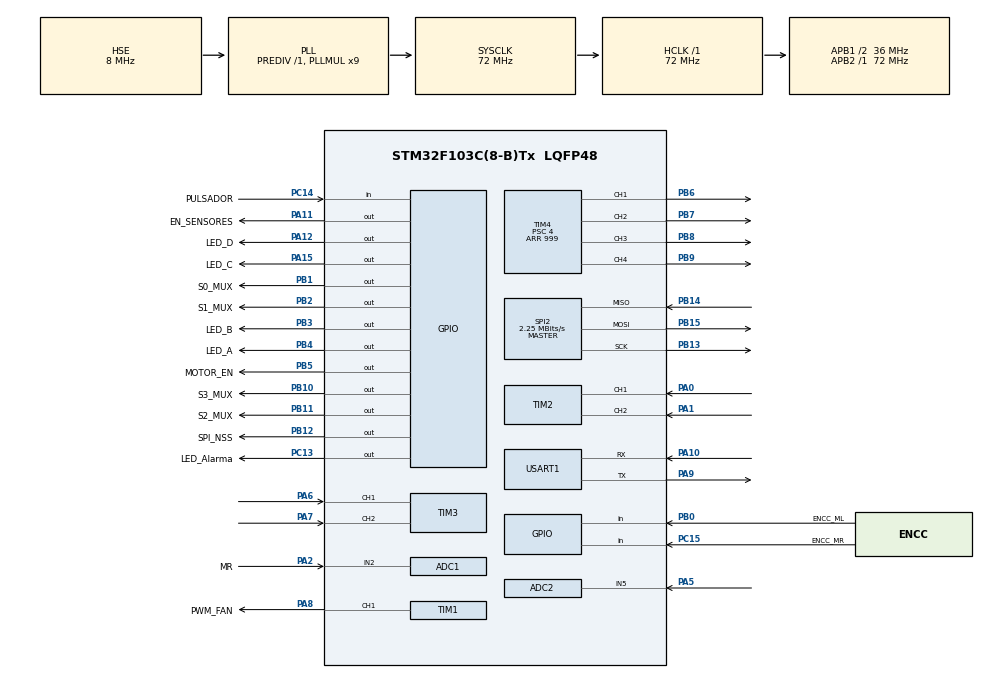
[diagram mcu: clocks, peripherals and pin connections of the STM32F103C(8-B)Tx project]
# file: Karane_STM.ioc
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ADC1.Channel-4\#ChannelRegularConversion=ADC_CHANNEL_2
ADC1.ContinuousConvMode=DISABLE
ADC1.NbrOfConversion=1
ADC1.NbrOfConversionFlag=1
ADC1.Rank-4\#ChannelRegularConversion=1
ADC1.SamplingTime-4\#ChannelRegularConversion=ADC_SAMPLETIME_13CYCLES_5
ADC1.master=1
ADC2.Channel-0\#ChannelRegularConversion=ADC_CHANNEL_5
ADC2.ContinuousConvMode=DISABLE
ADC2.NbrOfConversion=1
ADC2.NbrOfConversionFlag=1
ADC2.Rank-0\#ChannelRegularConversion=1
ADC2.SamplingTime-0\#ChannelRegularConversion=ADC_SAMPLETIME_13CYCLES_5
Mcu.Family=STM32F1
Mcu.Name=STM32F103C(8-B)Tx
Mcu.Package=LQFP48
NVIC.PriorityGroup=NVIC_PRIORITYGROUP_4
PA0-WKUP.Signal=S_TIM2_CH1_ETR
PA1.Signal=S_TIM2_CH2
PA10.Mode=Asynchronous
PA10.Signal=USART1_RX
PA11.GPIO_Label=EN_SENSORES
PA11.Signal=GPIO_Output
PA12.GPIO_Label=LED_D
PA12.Signal=GPIO_Output
PA13.Mode=Serial_Wire
PA13.Signal=SYS_JTMS-SWDIO
PA14.Mode=Serial_Wire
PA14.Signal=SYS_JTCK-SWCLK
PA15.GPIO_Label=LED_C
PA15.Signal=GPIO_Output
PA2.GPIO_Label=MR
PA2.Signal=ADCx_IN2
PA5.Signal=ADCx_IN5
PA6.Signal=S_TIM3_CH1
PA7.Signal=S_TIM3_CH2
PA8.GPIO_Label=PWM_FAN
PA8.Signal=S_TIM1_CH1
PA9.Mode=Asynchronous
PA9.Signal=USART1_TX
PB0.GPIO_Label=ENCC_ML
PB0.Signal=GPIO_Input
PB1.GPIO_Label=S0_MUX
PB1.Signal=GPIO_Output
PB10.GPIO_Label=S3_MUX
PB10.Signal=GPIO_Output
PB11.GPIO_Label=S2_MUX
PB11.Signal=GPIO_Output
PB12.GPIO_Label=SPI_NSS
PB12.Signal=GPIO_Output
PB13.Mode=Full_Duplex_Master
PB13.Signal=SPI2_SCK
PB14.Mode=Full_Duplex_Master
PB14.Signal=SPI2_MISO
PB15.Mode=Full_Duplex_Master
PB15.Signal=SPI2_MOSI
PB2.GPIO_Label=S1_MUX
PB2.Signal=GPIO_Output
PB3.GPIO_Label=LED_B
PB3.Signal=GPIO_Output
PB4.GPIO_Label=LED_A
PB4.Signal=GPIO_Output
PB5.GPIO_Label=MOTOR_EN
PB5.Signal=GPIO_Output
PB6.Signal=S_TIM4_CH1
PB7.Signal=S_TIM4_CH2
PB8.Signal=S_TIM4_CH3
PB9.Signal=S_TIM4_CH4
PC13-TAMPER-RTC.GPIO_Label=LED_Alarma
PC13-TAMPER-RTC.Signal=GPIO_Output
PC14-OSC32_IN.GPIO_Label=PULSADOR
PC14-OSC32_IN.Signal=GPIO_Input
PC15-OSC32_OUT.GPIO_Label=ENCC_MR
PC15-OSC32_OUT.Signal=GPIO_Input
PD0-OSC_IN.Mode=HSE-External-Oscillator
PD0-OSC_IN.Signal=RCC_OSC_IN
PD1-OSC_OUT.Mode=HSE-External-Oscillator
PD1-OSC_OUT.Signal=RCC_OSC_OUT
ProjectManager.HeapSize=0x200
ProjectManager.StackSize=0x400
ProjectManager.TargetToolchain=STM32CubeIDE
RCC.ADCPresc=RCC_ADCPCLK2_DIV6
RCC.AHBFreq_Value=72000000
RCC.APB1CLKDivider=RCC_HCLK_DIV2
RCC.APB1Freq_Value=36000000
RCC.APB1TimFreq_Value=72000000
RCC.APB2Freq_Value=72000000
RCC.APB2TimFreq_Value=72000000
RCC.HCLKFreq_Value=72000000
RCC.PLLMUL=RCC_PLL_MUL9
RCC.PLLSourceVirtual=RCC_PLLSOURCE_HSE
RCC.SYSCLKFreq_VALUE=72000000
RCC.SYSCLKSource=RCC_SYSCLKSOURCE_PLLCLK
RCC.USBFreq_Value=72000000
SH.ADCx_IN2.0=ADC1_IN2,IN2
SH.ADCx_IN5.0=ADC2_IN5,IN5
SH.S_TIM1_CH1.0=TIM1_CH1,PWM Generation1 CH1
SH.S_TIM2_CH1_ETR.0=TIM2_CH1,Encoder_Interface
SH.S_TIM2_CH2.0=TIM2_CH2,Encoder_Interface
SH.S_TIM3_CH1.0=TIM3_CH1,Encoder_Interface
SH.S_TIM3_CH2.0=TIM3_CH2,Encoder_Interface
SH.S_TIM4_CH1.0=TIM4_CH1,PWM Generation1 CH1
SH.S_TIM4_CH2.0=TIM4_CH2,PWM Generation2 CH2
SH.S_TIM4_CH3.0=TIM4_CH3,PWM Generation3 CH3
SH.S_TIM4_CH4.0=TIM4_CH4,PWM Generation4 CH4
SPI2.BaudRatePrescaler=SPI_BAUDRATEPRESCALER_16
SPI2.CalculateBaudRate=2.25 MBits/s
SPI2.Direction=SPI_DIRECTION_2LINES
SPI2.Mode=SPI_MODE_MASTER
SPI2.VirtualType=VM_MASTER
TIM1.Channel-PWM\ Generation1\ CH1=TIM_CHANNEL_1
TIM1.Period=19999
TIM1.Prescaler=71
TIM3.IC1Polarity=TIM_ICPOLARITY_FALLING
TIM4.Channel-PWM\ Generation1\ CH1=TIM_CHANNEL_1
TIM4.Channel-PWM\ Generation2\ CH2=TIM_CHANNEL_2
TIM4.Channel-PWM\ Generation3\ CH3=TIM_CHANNEL_3
TIM4.Channel-PWM\ Generation4\ CH4=TIM_CHANNEL_4
TIM4.Period=999
TIM4.Prescaler=4
USART1.VirtualMode=VM_ASYNC
VP_TIM1_VS_ClockSourceINT.Mode=Internal
board=custom

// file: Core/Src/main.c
/* USER CODE BEGIN Header */
/**
  ******************************************************************************
  * @file           : main.c
  * @brief          : Main program body
  ******************************************************************************
  * @attention
  *
  * Copyright (c) 2026 STMicroelectronics.
  * All rights reserved.
  *
  * This software is licensed under terms that can be found in the LICENSE file
  * in the root directory of this software component.
  * If no LICENSE file comes with this software, it is provided AS-IS.
  *
  ******************************************************************************
  */
/* USER CODE END Header */
#include "main.h"
#include "adc.h"
#include "spi.h"
#include "tim.h"
#include "usart.h"
#include "gpio.h"

/* USER CODE BEGIN Includes */
#include "stdio.h"
#include "string.h"
#include "LIB_MPU6500_SPI.h"
#include "MOTORES_LIB.h"
/* USER CODE END Includes */

/* USER CODE BEGIN PTD */
typedef struct
{
	float	kp;
	float	ki;
	float	kd;
	float	ultimoError;
	float	integral;
	float	winup;
	float	PWM_Maximo;

}PID;

MPU6500_Init_Values_t 	MPU6500_Datos; //Iniciamos donde se guardaran todos los datos a leer
MPU6500_status_e	MPU6500_Status;
MPU6500_Init_float_t	MPU6500_Conv;

PID	PID_ML=		{0.05,0,0	,0,0,200,400};
PID	PID_MR=		{0.05,0,0	,0,0,200,400};
PID PID_Linea=	{1.5,0,0	,0,0,200,400};
Motores_Init Motor;
/* USER CODE END PTD */

/* USER CODE BEGIN PD */
#define NumSensores 16

/* USER CODE END PD */

/* USER CODE BEGIN PV */
char bufferTxt[30];
static uint8_t PosicionesSensores[16]={15,14,13,12,11,10,9,8,7,6,5,4,3,2,1,0};
uint8_t 	MuxSel=0;
int16_t 	RegletaSensores[16]={0};
int16_t	RegletaMax[16];
int16_t	RegletaMin[16];

int16_t UltimaPosicion	=500;				// var donde se almacenara la posicion en la linea
unsigned long sumaPonderada = 0;
unsigned long sumaLecturas = 0;
long valor=0;
unsigned long peso=0;
bool	flagRegleta=false;

uint32_t valoresADC[3];

/* USER CODE END PV */

void SystemClock_Config(void);
/* USER CODE BEGIN PFP */
void Leer_sensores(bool enSensores);
void Inicializar_Sistema();
uint32_t ADC_leer_Canal(uint32_t canal);
float funcion_calcularPID(PID* pid,int16_t setpoint,int16_t actual,float dt);
/* USER CODE END PFP */

int main(void)
{

  /* MCU Configuration--------------------------------------------------------*/

  /* Reset of all peripherals, Initializes the Flash interface and the Systick. */
  HAL_Init();

  /* Configure the system clock */
  SystemClock_Config();

  /* Initialize all configured peripherals */
  MX_GPIO_Init();
  MX_SPI2_Init();
  MX_USART1_UART_Init();
  MX_TIM4_Init();
  MX_TIM2_Init();
  MX_TIM3_Init();
  MX_ADC1_Init();
  MX_ADC2_Init();
  MX_TIM1_Init();
  /* USER CODE BEGIN 2 */

  Inicializar_Sistema();
  bool IniciarPID=false;
  uint32_t Tiempo_Anterior_PID=0;
  uint32_t Tiempo_Anterior_ADC=0;

  /* USER CODE END 2 */

  /* Infinite loop */
  /* USER CODE BEGIN WHILE */
  while (1)
  {
	  if(0)
	  {
		  //IniciarPID=true;

		  HAL_GPIO_WritePin(LED_A_GPIO_Port, LED_A_Pin, 1);
		/*  HAL_Delay(1000);
		  for (int var = 1000; var < 1400; var+=20) {
		  		PWM_Brushless(var);
		  		HAL_Delay(300);
		  	}*/
		  for (int var = 0; var < 900; var+=5) {

			  Motor.ENABLE=true;

			  valoresADC[0]=ADC_leer_Canal(2);
			  valoresADC[1]=ADC_leer_Canal(3);
			  valoresADC[2]=ADC_leer_Canal(4);
			  float voltajeADC = (valoresADC[2] * 3.5f) / 4095.0f;

			  float voltaje = voltajeADC*3.1526;
/* valores iniciales
			  int16_t	ML=(int16_t)574/voltaje;//950 por 0.150v *1000 arr para pwm necesario hacerlo para cada uno
			  MR=(int16_t)654/voltaje;*/
			  // ML 1000 y MR 900a 950
			  Motor.PWM_ML=var;

			  Motor.PWM_MR=var;

				  PWM_Motores(&Motor);
		  sprintf(bufferTxt," Adc= %ld ",valoresADC[2]);
		  HAL_UART_Transmit(&huart1, (uint8_t *)bufferTxt, strlen(bufferTxt), HAL_MAX_DELAY);
		  sprintf(bufferTxt," volt= %0.4f ",voltaje);
		  HAL_UART_Transmit(&huart1, (uint8_t *)bufferTxt, strlen(bufferTxt), HAL_MAX_DELAY);
		  sprintf(bufferTxt," volt= %d ",var);
		  HAL_UART_Transmit(&huart1, (uint8_t *)bufferTxt, strlen(bufferTxt), HAL_MAX_DELAY);

		  sprintf(bufferTxt,"\r\n ");
		  HAL_UART_Transmit(&huart1, (uint8_t *)bufferTxt, strlen(bufferTxt), HAL_MAX_DELAY);
		  HAL_Delay(50);
		  }
		  HAL_GPIO_WritePin(LED_A_GPIO_Port, LED_A_Pin, 0);
		  Motor.PWM_ML=0;
		  Motor.PWM_MR=0;

		  PWM_Motores(&Motor);
	  }
	  //int32_t encoder_valueA = __HAL_TIM_GET_COUNTER(&htim2);
	  //int32_t encoder_valueB = __HAL_TIM_GET_COUNTER(&htim3);
	  if(HAL_GetTick()-Tiempo_Anterior_ADC>200)
	  {
		  valoresADC[0]=ADC_leer_Canal(2);
		  valoresADC[1]=ADC_leer_Canal(3);
		  valoresADC[2]=ADC_leer_Canal(4);
		  Tiempo_Anterior_ADC=HAL_GetTick();
	  }
for(int x=0;x<16;x++)
{
	  Leer_sensores(true);
}
for(int x=0;x<16;x++)
{
	  sprintf(bufferTxt," A%d= %d ",x,RegletaSensores[x]);
	  			  HAL_UART_Transmit(&huart1, (uint8_t *)bufferTxt, strlen(bufferTxt), HAL_MAX_DELAY);
}
  sprintf(bufferTxt," pos= %d ",UltimaPosicion);
  HAL_UART_Transmit(&huart1, (uint8_t *)bufferTxt, strlen(bufferTxt), HAL_MAX_DELAY);

	  			  sprintf(bufferTxt,"\r\n ");
	  			  HAL_UART_Transmit(&huart1, (uint8_t *)bufferTxt, strlen(bufferTxt), HAL_MAX_DELAY);
HAL_Delay(500);
/*
	  if(IniciarPID==true)
	  {
		  if(HAL_GetTick()-Tiempo_Anterior_PID>19)
		  {
			  float_t linea=funcion_calcularPID(&PID_Linea, 500, UltimaPosicion, 19);
			  /// positivo mr+++ y ml---

			  sprintf(bufferTxt," A1= %0.3f ",linea);
			  HAL_UART_Transmit(&huart1, (uint8_t *)bufferTxt, strlen(bufferTxt), HAL_MAX_DELAY);
			  sprintf(bufferTxt," A2= %d ",UltimaPosicion);
			  HAL_UART_Transmit(&huart1, (uint8_t *)bufferTxt, strlen(bufferTxt), HAL_MAX_DELAY);

			  sprintf(bufferTxt,"\r\n ");
			  HAL_UART_Transmit(&huart1, (uint8_t *)bufferTxt, strlen(bufferTxt), HAL_MAX_DELAY);

			  HAL_Delay(10);
		  Tiempo_Anterior_PID=HAL_GetTick();
		  }

	  }
	  HAL_GPIO_TogglePin(LED_D_GPIO_Port, LED_D_Pin);*/

    /* USER CODE END WHILE */

  }
}

void SystemClock_Config(void)
{
  RCC_OscInitTypeDef RCC_OscInitStruct = {0};
  RCC_ClkInitTypeDef RCC_ClkInitStruct = {0};
  RCC_PeriphCLKInitTypeDef PeriphClkInit = {0};

  /** Initializes the RCC Oscillators according to the specified parameters
  * in the RCC_OscInitTypeDef structure.
  */
  RCC_OscInitStruct.OscillatorType = RCC_OSCILLATORTYPE_HSE;
  RCC_OscInitStruct.HSEState = RCC_HSE_ON;
  RCC_OscInitStruct.HSEPredivValue = RCC_HSE_PREDIV_DIV1;
  RCC_OscInitStruct.HSIState = RCC_HSI_ON;
  RCC_OscInitStruct.PLL.PLLState = RCC_PLL_ON;
  RCC_OscInitStruct.PLL.PLLSource = RCC_PLLSOURCE_HSE;
  RCC_OscInitStruct.PLL.PLLMUL = RCC_PLL_MUL9;
  if (HAL_RCC_OscConfig(&RCC_OscInitStruct) != HAL_OK)
  {
    Error_Handler();
  }

  /** Initializes the CPU, AHB and APB buses clocks
  */
  RCC_ClkInitStruct.ClockType = RCC_CLOCKTYPE_HCLK|RCC_CLOCKTYPE_SYSCLK
                              |RCC_CLOCKTYPE_PCLK1|RCC_CLOCKTYPE_PCLK2;
  RCC_ClkInitStruct.SYSCLKSource = RCC_SYSCLKSOURCE_PLLCLK;
  RCC_ClkInitStruct.AHBCLKDivider = RCC_SYSCLK_DIV1;
  RCC_ClkInitStruct.APB1CLKDivider = RCC_HCLK_DIV2;
  RCC_ClkInitStruct.APB2CLKDivider = RCC_HCLK_DIV1;

  if (HAL_RCC_ClockConfig(&RCC_ClkInitStruct, FLASH_LATENCY_2) != HAL_OK)
  {
    Error_Handler();
  }
  PeriphClkInit.PeriphClockSelection = RCC_PERIPHCLK_ADC;
  PeriphClkInit.AdcClockSelection = RCC_ADCPCLK2_DIV6;
  if (HAL_RCCEx_PeriphCLKConfig(&PeriphClkInit) != HAL_OK)
  {
    Error_Handler();
  }
}

/* USER CODE BEGIN 4 */
void Inicializar_Sistema()
{
	 HAL_GPIO_WritePin(LED_Alarma_GPIO_Port, LED_Alarma_Pin, 1);
	  MPU6500_Status=MPU6500_Init(&MPU6500_Datos,10,DPS250,G2);
	  if (MPU6500_Status==MPU6500_fail) {
	  	for (;;) {
	  		 sprintf(bufferTxt,"Fallo al iniciar MPU\r\n");
	  				  HAL_UART_Transmit(&huart1, (uint8_t *)bufferTxt, strlen(bufferTxt), HAL_MAX_DELAY);
	  				HAL_Delay(500);
	  		}
	 }
	  Inicializar_Motores(&Motor);

	  HAL_TIM_Encoder_Start(&htim2, TIM_CHANNEL_ALL);
	  HAL_TIM_Encoder_Start(&htim3, TIM_CHANNEL_ALL);
	  __HAL_TIM_SET_COUNTER(&htim2,0);
	  __HAL_TIM_SET_COUNTER(&htim3,0);

	Inicializar_Brushless();
	/*for (int var = 1000; var < 1400; var+=20) {
		PWM_Brushless(var);
		HAL_Delay(300);
	}*/
	  for (int var = 0; var < 16; ++var) {
		  RegletaMax[var]=0;
		  RegletaMin[var]=4095;
	  }
	  HAL_GPIO_WritePin(LED_A_GPIO_Port, LED_A_Pin, 0);
	  HAL_GPIO_WritePin(LED_B_GPIO_Port, LED_B_Pin, 0);
	  HAL_GPIO_WritePin(LED_C_GPIO_Port, LED_C_Pin, 0);
	  HAL_GPIO_WritePin(LED_D_GPIO_Port, LED_D_Pin, 0);

	  HAL_GPIO_WritePin(LED_Alarma_GPIO_Port, LED_Alarma_Pin, 0);
}
uint32_t ADC_leer_Canal(uint32_t canal) {
    ADC_ChannelConfTypeDef sConfig = {0};

    // 1. Configurar el canal que queremos leer
    sConfig.Channel = canal;
    sConfig.Rank = ADC_REGULAR_RANK_1;
    sConfig.SamplingTime = ADC_SAMPLETIME_13CYCLES_5; // Tiempo suficiente para el Mux
    if (HAL_ADC_ConfigChannel(&hadc1, &sConfig) != HAL_OK) {
        Error_Handler();
    }

    // 2. Iniciar la conversión
    HAL_ADC_Start(&hadc1);

    // 3. Esperar a que termine (timeout de 10ms)
    if (HAL_ADC_PollForConversion(&hadc1, 10) == HAL_OK) {
        uint32_t valor = HAL_ADC_GetValue(&hadc1);
        HAL_ADC_Stop(&hadc1);
        return valor;
    }

    HAL_ADC_Stop(&hadc1);
    return 0;
}

void Leer_sensores(bool enSensores)
{
	HAL_GPIO_WritePin(EN_SENSORES_GPIO_Port, EN_SENSORES_Pin, enSensores);
	if(MuxSel<16)
	{
		HAL_ADC_Start(&hadc2);
		if (HAL_ADC_PollForConversion(&hadc2, 10) == HAL_OK)
		{
			RegletaSensores[MuxSel] =(uint16_t) HAL_ADC_GetValue(&hadc2); // Lee el resultado

			//solo si se utilizara por el momento no
			//if(RegletaSensores[MuxSel]>RegletaMax[MuxSel]){RegletaMax[MuxSel]=RegletaSensores[MuxSel];}
			//if(RegletaSensores[MuxSel]<RegletaMin[MuxSel]){RegletaMin[MuxSel]=RegletaSensores[MuxSel];}

		}
		HAL_ADC_Stop(&hadc2);
		valor = RegletaSensores[MuxSel];
		// Se realizara una media ponderada normalizada entre 0-1000 donde 0 es iquierda y 1000 derecha
		// Umbral de ruido: 10% del valor máximo (4095 * 0.1 = 409)
		if (valor > 409) {
			// Peso del sensor (de 0 a 1000)
			peso = (MuxSel * 1000L) / (NumSensores - 1);
			sumaPonderada += peso * valor;
			sumaLecturas += valor;
		}

		MuxSel++;
	}
	else{
		if(sumaLecturas>0)
		{
			UltimaPosicion = (int)(sumaPonderada / sumaLecturas);
		}
		MuxSel=0;
		sumaLecturas=0;
		sumaPonderada=0;
		peso=0;
		valor=0;
		flagRegleta=true;
	}

	HAL_GPIO_WritePin(S0_MUX_GPIO_Port, S0_MUX_Pin, (PosicionesSensores[MuxSel]&1));
	HAL_GPIO_WritePin(S1_MUX_GPIO_Port, S1_MUX_Pin, (PosicionesSensores[MuxSel]&2)>>1);
	HAL_GPIO_WritePin(S2_MUX_GPIO_Port, S2_MUX_Pin, (PosicionesSensores[MuxSel]&4)>>2);
	HAL_GPIO_WritePin(S3_MUX_GPIO_Port, S3_MUX_Pin, (PosicionesSensores[MuxSel]&8)>>3);

}
float funcion_calcularPID(PID* pid,int16_t setpoint,int16_t actual,float dt)
{
	float error=(float)(setpoint-actual);
	float P=error*pid->kp;

	pid->integral=pid->integral+error;
	if(pid->integral>(pid->winup))pid->integral=(pid->winup);
	if(pid->integral<-(pid->winup))pid->integral=-(pid->winup);

	float I=pid->ki*pid->integral;

	float D=pid->kd*(error-pid->ultimoError);
	pid->ultimoError=error;

	float PIDout=P+I+D;
	if(PIDout>(pid->PWM_Maximo))PIDout=(pid->PWM_Maximo);
	if(PIDout<-(pid->PWM_Maximo))PIDout=-(pid->PWM_Maximo);
	return PIDout;
}
/* USER CODE END 4 */

void Error_Handler(void)
{
  /* USER CODE BEGIN Error_Handler_Debug */
  /* User can add his own implementation to repo*t the HAL error return state */
  __disable_irq();
  while (1)
  {
  }
  /* USER CODE END Error_Handler_Debug */
}
